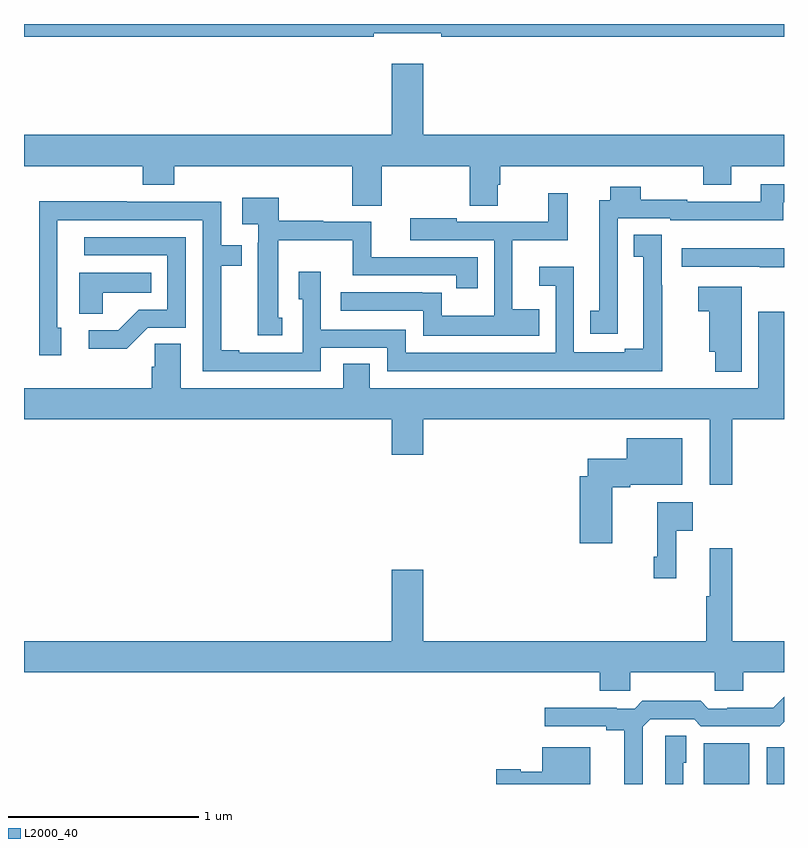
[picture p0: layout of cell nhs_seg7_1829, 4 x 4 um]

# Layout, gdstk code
import gdstk
lib = gdstk.Library(unit=1e-6, precision=1e-09)
def R(c, l, rs):  # rectangles x0, y0, x1, y1
    for r in rs: c.add(gdstk.rectangle(r[:2], r[2:], *l))
def P(c, l, *ps):  # polygons
    for p in ps: c.add(gdstk.Polygon(p, *l))
L2000_40 = (2000, 40)

nhs_seg7_1829 = lib.new_cell('nhs_seg7_1829')
R(nhs_seg7_1829, L2000_40, [(238.577,1028,238.816,1028.215), (238.91,1028,239,1028.194)])
P(nhs_seg7_1829, L2000_40, [(236.84,1031.951),(237.196,1031.951),(237.196,1031.932),(239,1031.932),(239,1032),(235,1032),(235,1031.932),(236.84,1031.932)],
  [(236.883,1031.252),(237.346,1031.252),(237.346,1031.044),(237.493,1031.044),(237.493,1031.154),(237.506,1031.154),(237.506,1031.252),(238.576,1031.252),(238.576,1031.153),(238.723,1031.153),(238.723,1031.252),(239,1031.252),(239,1031.416),(237.1,1031.416),(237.1,1031.791),(236.936,1031.791),(236.936,1031.416),(235,1031.416),(235,1031.252),(235.625,1031.252),(235.625,1031.153),(235.79,1031.153),(235.79,1031.252),(236.728,1031.252),(236.728,1031.044),(236.883,1031.044)],
  [(238.126,1030.694),(238.125,1030.694),(238.125,1030.977),(238.401,1030.977),(238.401,1030.967),(238.996,1030.967),(238.996,1031.061),(239,1031.061),(239,1031.157),(238.877,1031.157),(238.877,1031.064),(238.491,1031.064),(238.491,1031.074),(238.245,1031.074),(238.245,1031.143),(238.085,1031.143),(238.085,1031.073),(238.028,1031.073),(238.028,1030.491),(237.979,1030.491),(237.979,1030.371),(238.126,1030.371)],
  [(237.713,1030.498),(237.571,1030.498),(237.571,1030.862),(237.862,1030.862),(237.862,1031.11),(237.76,1031.11),(237.76,1030.959),(237.277,1030.959),(237.277,1030.978),(237.033,1030.978),(237.033,1030.863),(237.474,1030.863),(237.474,1030.465),(237.198,1030.465),(237.198,1030.586),(237.095,1030.586),(237.095,1030.587),(236.667,1030.587),(236.667,1030.491),(237.102,1030.491),(237.102,1030.358),(237.713,1030.358)],
  [(236.359,1030.455),(236.338,1030.455),(236.338,1030.862),(236.729,1030.862),(236.729,1030.677),(237.276,1030.677),(237.276,1030.608),(237.389,1030.608),(237.389,1030.773),(236.828,1030.773),(236.828,1030.959),(236.574,1030.959),(236.574,1030.964),(236.341,1030.964),(236.341,1031.086),(236.148,1031.086),(236.148,1030.946),(236.232,1030.946),(236.232,1030.85),(236.231,1030.85),(236.231,1030.362),(236.359,1030.362)],
  [(238.359,1030.625),(238.356,1030.625),(238.356,1030.892),(238.21,1030.892),(238.21,1030.774),(238.259,1030.774),(238.259,1030.291),(238.163,1030.291),(238.163,1030.273),(237.894,1030.273),(237.894,1030.723),(237.711,1030.723),(237.711,1030.622),(237.798,1030.622),(237.798,1030.269),(237.009,1030.269),(237.009,1030.392),(236.562,1030.392),(236.562,1030.696),(236.447,1030.696),(236.447,1030.551),(236.466,1030.551),(236.466,1030.269),(236.134,1030.269),(236.134,1030.282),(236.039,1030.282),(236.039,1030.728),(236.146,1030.728),(236.146,1030.836),(236.037,1030.836),(236.037,1031.064),(235.541,1031.064),(235.541,1031.066),(235.08,1031.066),(235.08,1030.257),(235.195,1030.257),(235.195,1030.401),(235.176,1030.401),(235.176,1030.968),(235.941,1030.968),(235.941,1030.173),(236.562,1030.173),(236.562,1030.296),(236.913,1030.296),(236.913,1030.173),(237.901,1030.173),(237.901,1030.172),(238.359,1030.172)],
  [(235.65,1030.401),(235.851,1030.401),(235.851,1030.878),(235.317,1030.878),(235.317,1030.782),(235.755,1030.782),(235.755,1030.497),(235.605,1030.497),(235.497,1030.389),(235.341,1030.389),(235.341,1030.292),(235.54,1030.292)],
  [(239,1030.819),(238.461,1030.819),(238.461,1030.722),(238.873,1030.722),(238.873,1030.72),(239,1030.72)],
  [(235.414,1030.586),(235.67,1030.586),(235.67,1030.69),(235.292,1030.69),(235.292,1030.474),(235.414,1030.474)],
  [(238.777,1030.618),(238.548,1030.618),(238.548,1030.489),(238.607,1030.489),(238.607,1030.274),(238.637,1030.274),(238.637,1030.169),(238.777,1030.169)],
  [(236.936,1029.732),(237.1,1029.732),(237.1,1029.92),(238.61,1029.92),(238.61,1029.576),(238.727,1029.576),(238.727,1029.92),(239,1029.92),(239,1030.486),(238.865,1030.486),(238.865,1030.084),(236.821,1030.084),(236.821,1030.211),(236.681,1030.211),(236.681,1030.084),(235.825,1030.084),(235.825,1030.316),(235.687,1030.316),(235.687,1030.196),(235.673,1030.196),(235.673,1030.084),(235,1030.084),(235,1029.92),(236.936,1029.92)],
  [(238.096,1029.563),(238.192,1029.563),(238.192,1029.575),(238.465,1029.575),(238.465,1029.82),(238.172,1029.82),(238.172,1029.712),(237.968,1029.712),(237.968,1029.619),(237.926,1029.619),(237.926,1029.267),(238.096,1029.267)],
  [(238.433,1029.332),(238.519,1029.332),(238.519,1029.484),(238.333,1029.484),(238.333,1029.196),(238.315,1029.196),(238.315,1029.084),(238.433,1029.084)],
  [(238.191,1028.588),(238.636,1028.588),(238.636,1028.49),(238.786,1028.49),(238.786,1028.588),(239,1028.588),(239,1028.752),(238.727,1028.752),(238.727,1029.241),(238.61,1029.241),(238.61,1028.988),(238.591,1028.988),(238.591,1028.752),(237.1,1028.752),(237.1,1029.127),(236.936,1029.127),(236.936,1028.752),(235,1028.752),(235,1028.588),(238.031,1028.588),(238.031,1028.49),(238.191,1028.49)],
  [(238.257,1028.301),(238.296,1028.34),(238.527,1028.34),(238.563,1028.304),(238.977,1028.304),(239,1028.327),(239,1028.459),(238.943,1028.402),(238.702,1028.402),(238.702,1028.397),(238.602,1028.397),(238.563,1028.437),(238.255,1028.437),(238.215,1028.397),(238.121,1028.397),(238.121,1028.402),(237.741,1028.402),(237.741,1028.304),(238.064,1028.304),(238.064,1028.282),(238.16,1028.282),(238.16,1028),(238.257,1028)],
  [(238.47,1028.112),(238.486,1028.112),(238.486,1028.255),(238.374,1028.255),(238.374,1028),(238.47,1028)],
  [(237.979,1028.194),(237.728,1028.194),(237.728,1028.065),(237.615,1028.065),(237.615,1028.078),(237.486,1028.078),(237.486,1028),(237.979,1028)])

lib.write_gds('nhs_seg7_1829.gds')
